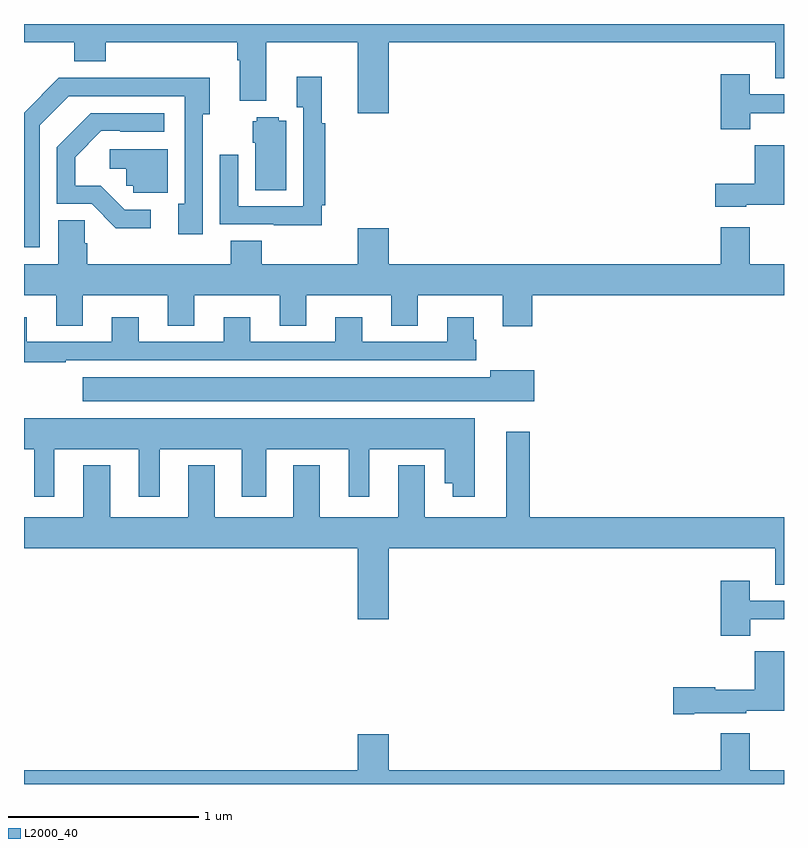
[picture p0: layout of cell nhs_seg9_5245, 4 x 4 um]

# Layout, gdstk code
import gdstk
lib = gdstk.Library(unit=1e-6, precision=1e-09)
def P(c, l, *ps):  # polygons
    for p in ps: c.add(gdstk.Polygon(p, *l))
L2000_40 = (2000, 40)

nhs_seg9_5245 = lib.new_cell('nhs_seg9_5245')
P(nhs_seg9_5245, L2000_40, [(416.92,1212.404),(418.955,1212.404),(418.955,1212.214),(419,1212.214),(419,1212.5),(415,1212.5),(415,1212.404),(415.265,1212.404),(415.265,1212.305),(415.43,1212.305),(415.43,1212.404),(416.123,1212.404),(416.123,1212.308),(416.135,1212.308),(416.135,1212.095),(416.275,1212.095),(416.275,1212.404),(416.756,1212.404),(416.756,1212.03),(416.92,1212.03)],
  [(418.822,1212.03),(419,1212.03),(419,1212.129),(418.819,1212.129),(418.819,1212.235),(418.667,1212.235),(418.667,1211.945),(418.822,1211.945)],
  [(416.567,1211.545),(416.585,1211.545),(416.585,1211.978),(416.567,1211.978),(416.567,1212.223),(416.435,1212.223),(416.435,1212.062),(416.469,1212.062),(416.469,1211.541),(416.127,1211.541),(416.127,1211.812),(416.031,1211.812),(416.031,1211.445),(416.315,1211.445),(416.315,1211.441),(416.567,1211.441)],
  [(415.083,1211.967),(415.236,1212.12),(415.845,1212.12),(415.845,1211.554),(415.811,1211.554),(415.811,1211.394),(415.941,1211.394),(415.941,1212.026),(415.978,1212.026),(415.978,1212.218),(415.513,1212.218),(415.513,1212.216),(415.182,1212.216),(415,1212.034),(415,1211.325),(415.083,1211.325)],
  [(415.666,1211.523),(415.53,1211.523),(415.403,1211.65),(415.27,1211.65),(415.27,1211.8),(415.407,1211.937),(415.507,1211.937),(415.507,1211.934),(415.738,1211.934),(415.738,1212.03),(415.352,1212.03),(415.173,1211.851),(415.173,1211.553),(415.356,1211.553),(415.484,1211.426),(415.666,1211.426)],
  [(416.38,1211.992),(416.34,1211.992),(416.34,1212.01),(416.226,1212.01),(416.226,1211.988),(416.204,1211.988),(416.204,1211.874),(416.216,1211.874),(416.216,1211.626),(416.38,1211.626)],
  [(418.8,1211.549),(419,1211.549),(419,1211.863),(418.846,1211.863),(418.846,1211.659),(418.638,1211.659),(418.638,1211.537),(418.8,1211.537)],
  [(415.756,1211.841),(415.452,1211.841),(415.452,1211.738),(415.539,1211.738),(415.539,1211.649),(415.575,1211.649),(415.575,1211.613),(415.756,1211.613)],
  [(415.309,1211.072),(415.757,1211.072),(415.757,1210.912),(415.897,1210.912),(415.897,1211.072),(416.345,1211.072),(416.345,1210.912),(416.485,1210.912),(416.485,1211.072),(416.933,1211.072),(416.933,1210.912),(417.073,1210.912),(417.073,1211.072),(417.521,1211.072),(417.521,1210.908),(417.674,1210.908),(417.674,1211.072),(419,1211.072),(419,1211.236),(418.819,1211.236),(418.819,1211.431),(418.667,1211.431),(418.667,1211.236),(416.92,1211.236),(416.92,1211.425),(416.756,1211.425),(416.756,1211.236),(416.252,1211.236),(416.252,1211.36),(416.087,1211.36),(416.087,1211.236),(415.334,1211.236),(415.334,1211.346),(415.319,1211.346),(415.319,1211.468),(415.181,1211.468),(415.181,1211.236),(415,1211.236),(415,1211.072),(415.169,1211.072),(415.169,1210.912),(415.309,1210.912)],
  [(415.22,1210.731),(417.38,1210.731),(417.38,1210.839),(417.367,1210.839),(417.367,1210.957),(417.227,1210.957),(417.227,1210.827),(416.779,1210.827),(416.779,1210.957),(416.639,1210.957),(416.639,1210.827),(416.191,1210.827),(416.191,1210.957),(416.051,1210.957),(416.051,1210.827),(415.603,1210.827),(415.603,1210.957),(415.463,1210.957),(415.463,1210.827),(415.015,1210.827),(415.015,1210.957),(415,1210.957),(415,1210.719),(415.22,1210.719)],
  [(417.685,1210.678),(417.455,1210.678),(417.455,1210.642),(415.308,1210.642),(415.308,1210.514),(417.685,1210.514)],
  [(415.159,1210.262),(415.604,1210.262),(415.604,1210.011),(415.714,1210.011),(415.714,1210.262),(416.147,1210.262),(416.147,1210.011),(416.275,1210.011),(416.275,1210.262),(416.708,1210.262),(416.708,1210.011),(416.818,1210.011),(416.818,1210.262),(417.215,1210.262),(417.215,1210.082),(417.257,1210.082),(417.257,1210.011),(417.373,1210.011),(417.373,1210.426),(415,1210.426),(415,1210.262),(415.055,1210.262),(415.055,1210.011),(415.159,1210.011)],
  [(418.955,1209.55),(419,1209.55),(419,1209.904),(417.661,1209.904),(417.661,1210.354),(417.539,1210.354),(417.539,1209.904),(417.109,1209.904),(417.109,1210.177),(416.969,1210.177),(416.969,1209.904),(416.557,1209.904),(416.557,1210.177),(416.417,1210.177),(416.417,1209.904),(416.005,1209.904),(416.005,1210.177),(415.865,1210.177),(415.865,1209.904),(415.453,1209.904),(415.453,1210.177),(415.313,1210.177),(415.313,1209.904),(415,1209.904),(415,1209.74),(416.756,1209.74),(416.756,1209.366),(416.92,1209.366),(416.92,1209.74),(418.955,1209.74)],
  [(418.822,1209.366),(419,1209.366),(419,1209.465),(418.819,1209.465),(418.819,1209.571),(418.667,1209.571),(418.667,1209.281),(418.822,1209.281)],
  [(418.528,1208.873),(418.8,1208.873),(418.8,1208.885),(419,1208.885),(419,1209.199),(418.846,1209.199),(418.846,1208.995),(418.638,1208.995),(418.638,1209.008),(418.416,1209.008),(418.416,1208.866),(418.528,1208.866)],
  [(415,1208.5),(419,1208.5),(419,1208.572),(418.819,1208.572),(418.819,1208.767),(418.667,1208.767),(418.667,1208.572),(416.92,1208.572),(416.92,1208.761),(416.756,1208.761),(416.756,1208.572),(415,1208.572)])

lib.write_gds('nhs_seg9_5245.gds')
